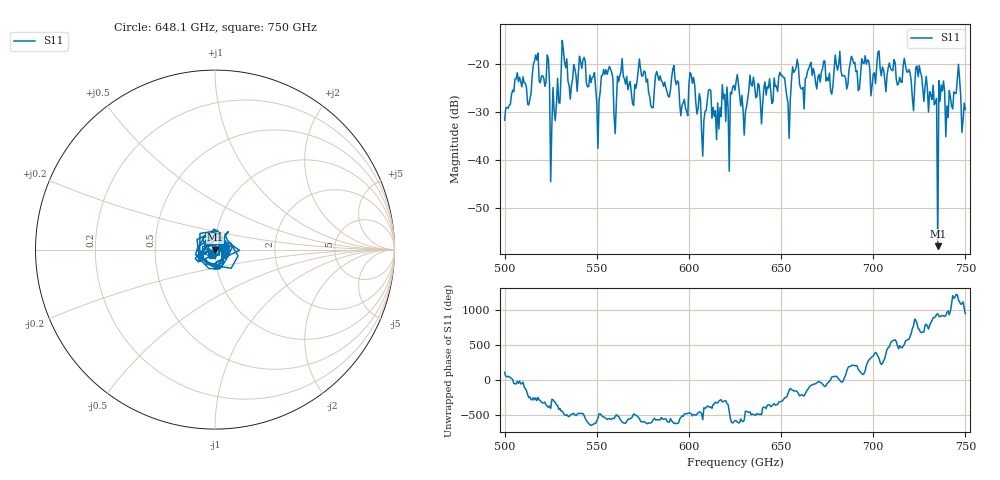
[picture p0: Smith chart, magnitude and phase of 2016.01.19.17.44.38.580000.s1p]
!Created with skrf (http://scikit-rf.org).
# GHz S RI R 50.0
!freq ReS11 ImS11
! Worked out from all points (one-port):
!   401 points, 500 GHz to 750 GHz, reference 50 ohm
!   lowest |S11| = -58.0 dB at 735 GHz (marker M1), VSWR 1.00, Z = 49.9 - j0.0994 ohm
!   |S11| at or under -10 dB: start of sweep to end of sweep
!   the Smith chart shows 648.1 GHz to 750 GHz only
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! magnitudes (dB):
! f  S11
! 500 GHz  -31.7
! 506.9 GHz  -21.8
! 513.1 GHz  -28.5
! 516.9 GHz  -18.1
! 523.1 GHz  -18.1
! 526.2 GHz  -24.9
! 531.2 GHz  -15.0
! 542.5 GHz  -19.1
! 550.6 GHz  -37.6
! 553.8 GHz  -21.1
! 560.6 GHz  -28.1
! 562.5 GHz  -22.4
! 593.8 GHz  -23.4
! 598.1 GHz  -29.1
! 601.9 GHz  -24.0
! 608.1 GHz  -31.7
! 610.6 GHz  -25.5
! 625 GHz  -25.4
! 630.6 GHz  -30.0
! 634.4 GHz  -24.6
! 650.6 GHz  -22.4
! 653.8 GHz  -28.1
! 656.2 GHz  -20.5
! 687.5 GHz  -19.9
! 718.8 GHz  -21.7
! 735 GHz  -58.0
! 736.9 GHz  -24.3
! 750 GHz  -29.4
